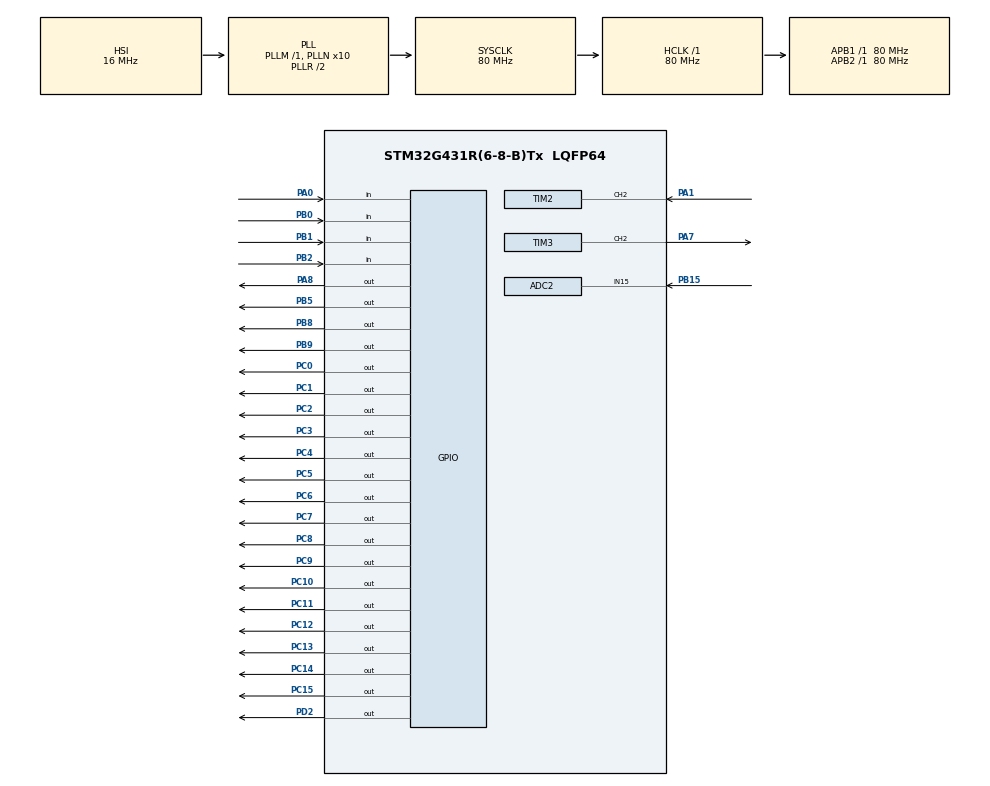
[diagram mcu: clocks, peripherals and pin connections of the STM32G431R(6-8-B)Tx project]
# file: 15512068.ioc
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ADC2.Channel-0\#ChannelRegularConversion=ADC_CHANNEL_15
ADC2.NbrOfConversionFlag=1
ADC2.OffsetNumber-0\#ChannelRegularConversion=ADC_OFFSET_NONE
ADC2.Rank-0\#ChannelRegularConversion=1
ADC2.SamplingTime-0\#ChannelRegularConversion=ADC_SAMPLETIME_2CYCLES_5
Mcu.Family=STM32G4
Mcu.Name=STM32G431R(6-8-B)Tx
Mcu.Package=LQFP64
NVIC.PriorityGroup=NVIC_PRIORITYGROUP_4
NVIC.TIM1_UP_TIM16_IRQn=true\:0\:0\:false\:false\:true\:true\:true\:true
NVIC.TIM2_IRQn=true\:0\:0\:false\:false\:true\:true\:true\:true
PA0.Signal=GPIO_Input
PA1.Signal=S_TIM2_CH2
PA13.Mode=Serial_Wire
PA13.Signal=SYS_JTMS-SWDIO
PA14.Mode=Serial_Wire
PA14.Signal=SYS_JTCK-SWCLK
PA7.Signal=S_TIM3_CH2
PA8.Signal=GPIO_Output
PB0.Signal=GPIO_Input
PB1.Signal=GPIO_Input
PB15.Mode=IN15-Single-Ended
PB15.Signal=ADC2_IN15
PB2.Signal=GPIO_Input
PB5.Signal=GPIO_Output
PB8-BOOT0.Signal=GPIO_Output
PB9.Signal=GPIO_Output
PC0.Signal=GPIO_Output
PC1.Signal=GPIO_Output
PC10.Signal=GPIO_Output
PC11.Signal=GPIO_Output
PC12.Signal=GPIO_Output
PC13.Signal=GPIO_Output
PC14-OSC32_IN.Signal=GPIO_Output
PC15-OSC32_OUT.Signal=GPIO_Output
PC2.Signal=GPIO_Output
PC3.Signal=GPIO_Output
PC4.Signal=GPIO_Output
PC5.Signal=GPIO_Output
PC6.Signal=GPIO_Output
PC7.Signal=GPIO_Output
PC8.Signal=GPIO_Output
PC9.Signal=GPIO_Output
PD2.Signal=GPIO_Output
PF0-OSC_IN.Mode=HSE-External-Oscillator
PF0-OSC_IN.Signal=RCC_OSC_IN
PF1-OSC_OUT.Mode=HSE-External-Oscillator
PF1-OSC_OUT.Signal=RCC_OSC_OUT
ProjectManager.HeapSize=0x200
ProjectManager.StackSize=0x400
ProjectManager.TargetToolchain=MDK-ARM V5.32
RCC.ADC12Freq_Value=80000000
RCC.AHBFreq_Value=80000000
RCC.APB1Freq_Value=80000000
RCC.APB1TimFreq_Value=80000000
RCC.APB2Freq_Value=80000000
RCC.APB2TimFreq_Value=80000000
RCC.CortexFreq_Value=80000000
RCC.EXTERNAL_CLOCK_VALUE=12288000
RCC.HCLKFreq_Value=80000000
RCC.HSE_VALUE=8000000
RCC.HSI48_VALUE=48000000
RCC.HSI_VALUE=16000000
RCC.LSE_VALUE=32768
RCC.PLLN=10
RCC.SYSCLKFreq_VALUE=80000000
RCC.SYSCLKSource=RCC_SYSCLKSOURCE_PLLCLK
RCC.USBFreq_Value=80000000
RCC.VCOOutputFreq_Value=160000000
SH.S_TIM2_CH2.0=TIM2_CH2,Input_Capture2_from_TI2
SH.S_TIM2_CH2.1=TIM2_CH2,TriggerSource_TI2FP2
SH.S_TIM3_CH2.0=TIM3_CH2,PWM Generation2 CH2
TIM1.AutoReloadPreload=TIM_AUTORELOAD_PRELOAD_ENABLE
TIM1.PeriodNoDither=10000-1
TIM1.Prescaler=80-1
TIM2.AutoReloadPreload=TIM_AUTORELOAD_PRELOAD_ENABLE
TIM2.Channel-Input_Capture2_from_TI2=TIM_CHANNEL_2
TIM2.Prescaler=10-1
TIM3.AutoReloadPreload=TIM_AUTORELOAD_PRELOAD_ENABLE
TIM3.Channel-PWM\ Generation2\ CH2=TIM_CHANNEL_2
TIM3.PeriodNoDither=100-1
TIM3.Prescaler=800-1
VP_SYS_VS_DBSignals.Mode=DisableDeadBatterySignals
VP_TIM1_VS_ClockSourceINT.Mode=Internal
VP_TIM2_VS_ClockSourceINT.Mode=Internal
VP_TIM2_VS_ControllerModeReset.Mode=Reset Mode
VP_TIM3_VS_ClockSourceINT.Mode=Internal
board=custom

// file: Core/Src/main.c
/* USER CODE BEGIN Header */
/**
  ******************************************************************************
  * @file           : main.c
  * @brief          : Main program body
  ******************************************************************************
  * @attention
  *
  * Copyright (c) 2024 STMicroelectronics.
  * All rights reserved.
  *
  * This software is licensed under terms that can be found in the LICENSE file
  * in the root directory of this software component.
  * If no LICENSE file comes with this software, it is provided AS-IS.
  *
  ******************************************************************************
  */
/* USER CODE END Header */
#include "main.h"
#include "adc.h"
#include "tim.h"
#include "gpio.h"

/* USER CODE BEGIN Includes */
#include "stdio.h"
#include "string.h"
#include "stdlib.h"
#include "lcd.h"
#include "interrupt.h"
/* USER CODE END Includes */

/* USER CODE BEGIN PTD */
extern unsigned char  rx[20];
extern unsigned char RX_Buff;
extern int idx;
extern struct Input_Capure TM2;

/* USER CODE END PTD */

void SystemClock_Config(void);

/* USER CODE BEGIN 0 */
int screen=0;
int led_faction=1;
int R=4;
void Key()
{
	if(get_key_stat(0))
	{
		screen++;
		screen%=2;
	}
	if(screen)
	{
		if(get_key_stat(1))
		{
			if(R<10)
			{
				R+=2;
			}
		}
		if(get_key_stat(2))
		{
			if(R>2)
			{
				R-=2;
			}
		}
	}
	if(get_key_stat(3))
	{
		led_faction++;
		led_faction%=2;
	}
	set_key_stat(0,0);
	set_key_stat(1,0);
	set_key_stat(2,0);
	set_key_stat(3,0);
}
//int q=2000;//1000->800;2000->1600
void Led()
{
	int led;
	float adc_value=getADC(&hadc2);
	if(led_faction)
	{
		if(screen)
		{
			led&=0xfe;
			led|=0x02;
		}
		else
		{
			led&=0xfd;
			led|=0x01;
		}
		if(adc_value>1 && adc_value<3)
		{
			led|=0x04;
		}
		else
		{
			led&=0xfb;
		}
		if(TM2.frq>=1000 && TM2.frq<5000)
		{
			led|=0x08;
		}
		else
		{
			led&=0xf7;
		}
	}
	else
	{
		led=0x00;
	}

	LED_Disp(led);
}

void Data()
{
	unsigned char str[20];
	float adc_value=getADC(&hadc2);
	__HAL_TIM_SetCompare(&htim3,TIM_CHANNEL_2,adc_value/3.3*100);
	LCD_DisplayStringLine(Line1,(u8 *)"       Data  ");
	sprintf((char *)str,"   FRQ:%.0fHz     ",TM2.frq);
	LCD_DisplayStringLine(Line3,str);
	sprintf((char *)str,"   R36:%.2fV   ",adc_value);
	LCD_DisplayStringLine(Line5,str);
}
void Para()
{
	//int a=0;
	unsigned char str[20];
	LCD_DisplayStringLine(Line1,(u8 *)"       Para  ");
	sprintf((char *)str,"      R:%d        ",R);
	LCD_DisplayStringLine(Line3,str);
	LCD_ClearLine(Line5);
}
/* USER CODE END 0 */

int main(void)
{

  /* MCU Configuration--------------------------------------------------------*/

  /* Reset of all peripherals, Initializes the Flash interface and the Systick. */
  HAL_Init();

  /* Configure the system clock */
  SystemClock_Config();

  /* Initialize all configured peripherals */
  MX_GPIO_Init();
  MX_TIM1_Init();
  MX_ADC2_Init();
  MX_TIM2_Init();
  MX_TIM3_Init();
  /* USER CODE BEGIN 2 */
	LCD_Init();
	LCD_Clear(Black);
	LCD_SetTextColor(White);
	LCD_SetBackColor(Black);

	//HAL_UART_Receive_IT(&huart1,&RX_Buff,1);

	HAL_TIM_Base_Start_IT(&htim1);
	HAL_TIM_IC_Start_IT(&htim2,TIM_CHANNEL_2);
	HAL_TIM_PWM_Start(&htim3,TIM_CHANNEL_2);

	HAL_ADCEx_Calibration_Start(&hadc2,ADC_SINGLE_ENDED);
  /* USER CODE END 2 */

  /* Infinite loop */
  while (1)
  {

    /* USER CODE BEGIN 3 */
	  Led();
	  Key();
	  if(screen){Para();}
	  else		{Data();}
	  __HAL_TIM_PRESCALER(&htim3,0.2*R*TM2.frq);

  }
  /* USER CODE END 3 */
}

void SystemClock_Config(void)
{
  RCC_OscInitTypeDef RCC_OscInitStruct = {0};
  RCC_ClkInitTypeDef RCC_ClkInitStruct = {0};

  /** Configure the main internal regulator output voltage
  */
  HAL_PWREx_ControlVoltageScaling(PWR_REGULATOR_VOLTAGE_SCALE1);

  /** Initializes the RCC Oscillators according to the specified parameters
  * in the RCC_OscInitTypeDef structure.
  */
  RCC_OscInitStruct.OscillatorType = RCC_OSCILLATORTYPE_HSI;
  RCC_OscInitStruct.HSIState = RCC_HSI_ON;
  RCC_OscInitStruct.HSICalibrationValue = RCC_HSICALIBRATION_DEFAULT;
  RCC_OscInitStruct.PLL.PLLState = RCC_PLL_ON;
  RCC_OscInitStruct.PLL.PLLSource = RCC_PLLSOURCE_HSI;
  RCC_OscInitStruct.PLL.PLLM = RCC_PLLM_DIV1;
  RCC_OscInitStruct.PLL.PLLN = 10;
  RCC_OscInitStruct.PLL.PLLP = RCC_PLLP_DIV2;
  RCC_OscInitStruct.PLL.PLLQ = RCC_PLLQ_DIV2;
  RCC_OscInitStruct.PLL.PLLR = RCC_PLLR_DIV2;
  if (HAL_RCC_OscConfig(&RCC_OscInitStruct) != HAL_OK)
  {
    Error_Handler();
  }

  /** Initializes the CPU, AHB and APB buses clocks
  */
  RCC_ClkInitStruct.ClockType = RCC_CLOCKTYPE_HCLK|RCC_CLOCKTYPE_SYSCLK
                              |RCC_CLOCKTYPE_PCLK1|RCC_CLOCKTYPE_PCLK2;
  RCC_ClkInitStruct.SYSCLKSource = RCC_SYSCLKSOURCE_PLLCLK;
  RCC_ClkInitStruct.AHBCLKDivider = RCC_SYSCLK_DIV1;
  RCC_ClkInitStruct.APB1CLKDivider = RCC_HCLK_DIV1;
  RCC_ClkInitStruct.APB2CLKDivider = RCC_HCLK_DIV1;

  if (HAL_RCC_ClockConfig(&RCC_ClkInitStruct, FLASH_LATENCY_2) != HAL_OK)
  {
    Error_Handler();
  }
}

void Error_Handler(void)
{
  __disable_irq();
  while (1)
  {
  }
}
